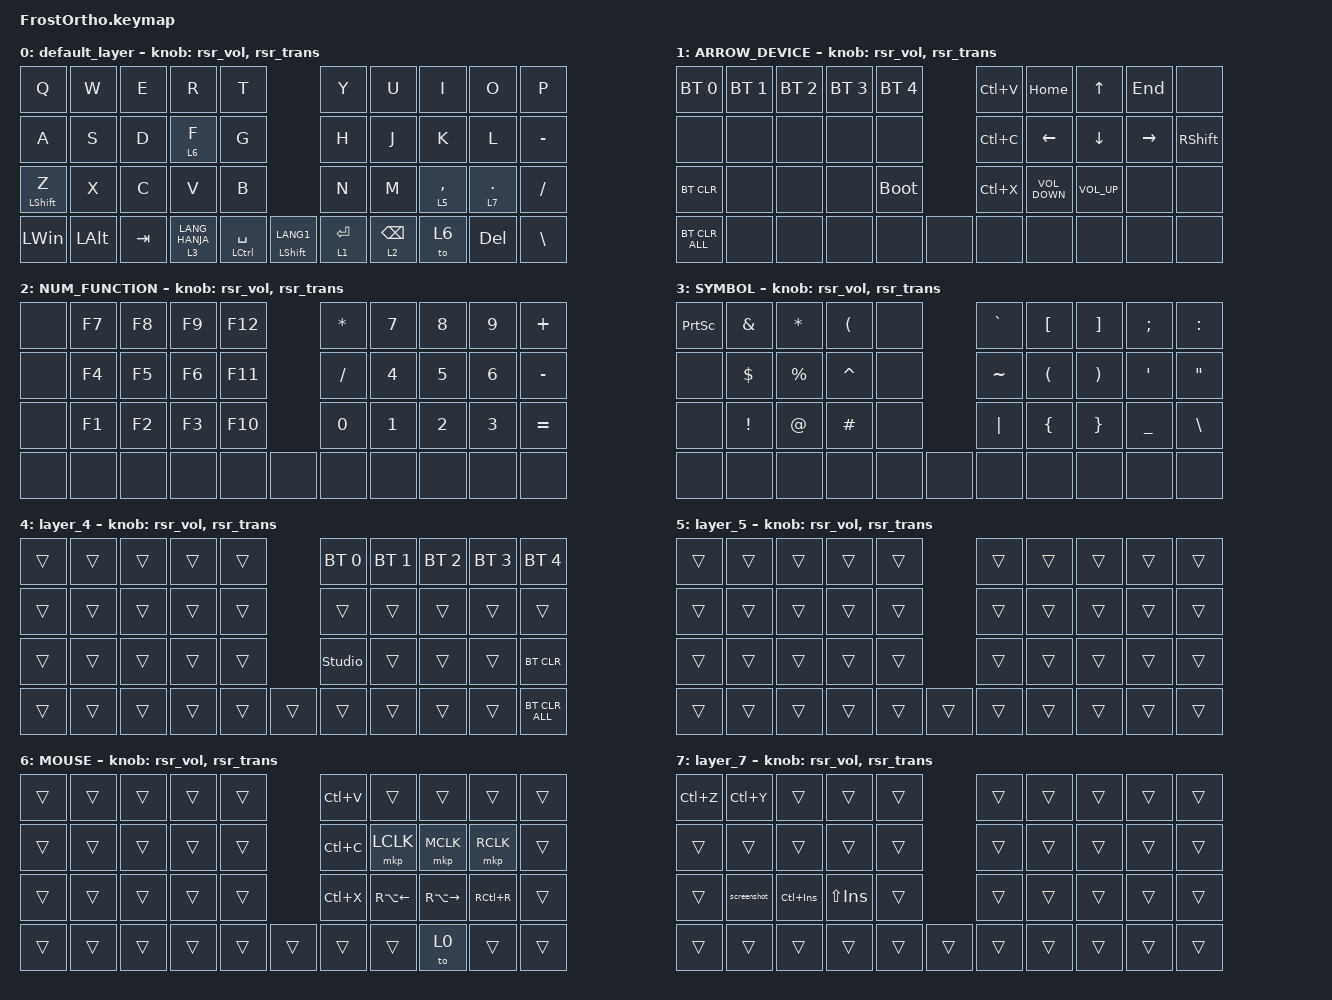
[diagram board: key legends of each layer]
#include <input/processors.dtsi>
#include <behaviors/runtime-sensor-rotate.dtsi>
#include <behaviors/runtime-sensor-rotate.dtsi>
#include <behaviors.dtsi>
#include <dt-bindings/zmk/bt.h>
#include <dt-bindings/zmk/keys.h>
#include <dt-bindings/zmk/pointing.h>

#define MOUSE 6

&mt {
    flavor = "balanced";
    quick-tap-ms = <0>;
};

// AML クリックしたときにタイムアウトを延長
// &mkp_input_listener { input-processors = <&zip_temp_layer 6 10000>; };

/ {
    combos {
        compatible = "zmk,combos";

        Esc {
            bindings = <&kp ESCAPE>;
            key-positions = <1 2>;
        };

        Tab {
            bindings = <&kp TAB>;
            key-positions = <11 12>;
        };
    };

    macros {
        to_layer_0: to_layer_0 {
            compatible = "zmk,behavior-macro-one-param";
            #binding-cells = <1>;
            bindings = <&to 0 &macro_param_1to1 &kp MACRO_PLACEHOLDER>;
            label = "TO_LAYER_0";
        };

        screenshot: screenshot {
            compatible = "zmk,behavior-macro";
            #binding-cells = <0>;
            bindings =
                <&to 7>,
                <&macro_press>,
                <&kp LEFT_WIN &kp LEFT_SHIFT &kp S>,
                <&macro_release>,
                <&kp LEFT_WIN &kp LEFT_SHIFT &kp S>;

            label = "SCREENSHOT";
        };
    };

    behaviors {
        lt_to_layer_0: lt_to_layer_0 {
            compatible = "zmk,behavior-hold-tap";
            label = "LAYER_TAP_TO_0";
            bindings = <&mo>, <&to_layer_0>;

            #binding-cells = <2>;
            tapping-term-ms = <300>;
        };

        // Kyemap Editor用

        scroll_up_down: behavior_sensor_rotate_mouse_wheel_up_down {
            compatible = "zmk,behavior-sensor-rotate";
            #sensor-binding-cells = <0>;
            tap-ms = <20>;
            bindings = <&msc SCRL_UP>, <&msc SCRL_DOWN>;
        };

        vol_up_down: vol_up_down {
            compatible = "zmk,behavior-sensor-rotate";
            #sensor-binding-cells = <0>;
            tap-ms = <5>;
            bindings = <&kp C_VOL_DN>, <&kp C_VOL_UP>;
        };

        // DYA Studio用

        rsr_vol: rsr_vol {
            compatible = "zmk,behavior-runtime-sensor-rotate";
            #sensor-binding-cells = <0>;
            tap-ms = <5>;
            cw-binding = <&kp C_VOL_DN>;
            ccw-binding = <&kp C_VOL_UP>;
        };
    };

    keymap {
        compatible = "zmk,keymap";

        default_layer {
            bindings = <
&kp Q             &kp W         &kp E    &kp R             &kp T                                             &kp Y        &kp U            &kp I        &kp O         &kp P
&kp A             &kp S         &kp D    &lt 6 F           &kp G                                             &kp H        &kp J            &kp K        &kp L         &kp MINUS
&mt LEFT_SHIFT Z  &kp X         &kp C    &kp V             &kp B                                             &kp N        &kp M            &lt 5 COMMA  &lt 7 PERIOD  &kp SLASH
&kp LEFT_WIN      &kp LEFT_ALT  &kp TAB  &lt 3 LANG_HANJA  &mt LEFT_CONTROL SPACE  &mt LEFT_SHIFT LANG1      &lt 1 ENTER  &lt 2 BACKSPACE  &to 6        &kp DELETE    &kp BACKSLASH
            >;

            sensor-bindings = <&rsr_vol &rsr_trans>;
        };

        ARROW_DEVICE {
            bindings = <
&bt BT_SEL 0    &bt BT_SEL 1  &bt BT_SEL 2  &bt BT_SEL 3  &bt BT_SEL 4             &kp LC(V)  &kp HOME           &kp UP_ARROW     &kp END          &none
&none           &none         &none         &none         &none                    &kp LC(C)  &kp LEFT_ARROW     &kp DOWN_ARROW   &kp RIGHT_ARROW  &kp RIGHT_SHIFT
&bt BT_CLR      &none         &none         &none         &bootloader              &kp LC(X)  &kp C_VOLUME_DOWN  &kp C_VOLUME_UP  &none            &none
&bt BT_CLR_ALL  &none         &none         &none         &none         &none      &none      &none              &none            &none            &none
            >;

            sensor-bindings = <&rsr_vol &rsr_trans>;
        };

        NUM_FUNCTION {
            bindings = <
&none  &kp F7  &kp F8  &kp F9  &kp F12             &kp ASTERISK  &kp N7        &kp N8        &kp N9        &kp PLUS
&none  &kp F4  &kp F5  &kp F6  &kp F11             &kp SLASH     &kp NUMBER_4  &kp N5        &kp NUMBER_6  &kp MINUS
&none  &kp F1  &kp F2  &kp F3  &kp F10             &kp N0        &kp NUMBER_1  &kp NUMBER_2  &kp NUMBER_3  &kp EQUAL
&none  &none   &none   &none   &none    &none      &none         &none         &none         &none         &none
            >;

            sensor-bindings = <&rsr_vol &rsr_trans>;
        };

        SYMBOL {
            bindings = <
&kp PRINTSCREEN  &kp AMPERSAND    &kp ASTERISK  &kp LEFT_PARENTHESIS  &none             &kp GRAVE  &kp LEFT_BRACKET      &kp RIGHT_BRACKET      &kp SEMICOLON   &kp COLON
&none            &kp DOLLAR       &kp PERCENT   &kp CARET             &none             &kp TILDE  &kp LEFT_PARENTHESIS  &kp RIGHT_PARENTHESIS  &kp SQT         &kp DOUBLE_QUOTES
&none            &kp EXCLAMATION  &kp AT_SIGN   &kp HASH              &none             &kp PIPE   &kp LEFT_BRACE        &kp RIGHT_BRACE        &kp UNDERSCORE  &kp BACKSLASH
&none            &none            &none         &none                 &none  &none      &none      &none                 &none                  &none           &none
            >;

            sensor-bindings = <&rsr_vol &rsr_trans>;
        };

        layer_4 {
            bindings = <
&trans  &trans  &trans  &trans  &trans              &bt BT_SEL 0    &bt BT_SEL 1  &bt BT_SEL 2  &bt BT_SEL 3  &bt BT_SEL 4
&trans  &trans  &trans  &trans  &trans              &trans          &trans        &trans        &trans        &trans
&trans  &trans  &trans  &trans  &trans              &studio_unlock  &trans        &trans        &trans        &bt BT_CLR
&trans  &trans  &trans  &trans  &trans  &trans      &trans          &trans        &trans        &trans        &bt BT_CLR_ALL
            >;

            sensor-bindings = <&rsr_vol &rsr_trans>;
        };

        layer_5 {
            bindings = <
&trans  &trans  &trans  &trans  &trans              &trans  &trans  &trans  &trans  &trans
&trans  &trans  &trans  &trans  &trans              &trans  &trans  &trans  &trans  &trans
&trans  &trans  &trans  &trans  &trans              &trans  &trans  &trans  &trans  &trans
&trans  &trans  &trans  &trans  &trans  &trans      &trans  &trans  &trans  &trans  &trans
            >;

            sensor-bindings = <&rsr_vol &rsr_trans>;
        };

        MOUSE {
            bindings = <
&trans  &trans  &trans  &trans  &trans              &kp LC(V)  &trans              &trans               &trans     &trans
&trans  &trans  &trans  &trans  &trans              &kp LC(C)  &mkp LCLK           &mkp MCLK            &mkp RCLK  &trans
&trans  &trans  &trans  &trans  &trans              &kp LC(X)  &kp RA(LEFT_ARROW)  &kp RA(RIGHT_ARROW)  &kp RC(R)  &trans
&trans  &trans  &trans  &trans  &trans  &trans      &trans     &trans              &to 0                &trans     &trans
            >;

            sensor-bindings = <&rsr_vol &rsr_trans>;
        };

        layer_7 {
            bindings = <
&kp LC(Z)  &kp LC(Y)    &trans       &trans       &trans              &trans  &trans  &trans  &trans  &trans
&trans     &trans       &trans       &trans       &trans              &trans  &trans  &trans  &trans  &trans
&trans     &screenshot  &kp LC(INS)  &kp LS(INS)  &trans              &trans  &trans  &trans  &trans  &trans
&trans     &trans       &trans       &trans       &trans  &trans      &trans  &trans  &trans  &trans  &trans
            >;

            sensor-bindings = <&rsr_vol &rsr_trans>;
        };
    };
};
